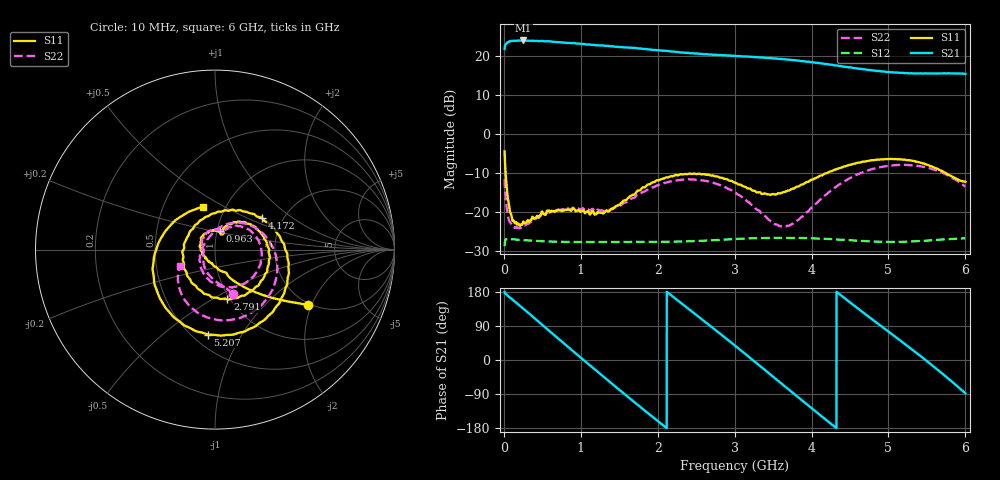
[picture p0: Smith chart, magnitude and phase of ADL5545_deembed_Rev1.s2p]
! Created Fri Jun 24 08:53:19 2016
# mhz S db R 50
! 2 Port Network Data from SP1.SP block
! freq  dbS11  angS11  dbS21  angS21  dbS12  angS12  dbS22  angS22
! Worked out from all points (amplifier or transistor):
!   5991 points, 10 MHz to 6 GHz, reference 50 ohm
!   highest |S21| = 24.1 dB at 255 MHz (marker M1)
!   |S21| within 3 dB of that: start of sweep to 2.276 GHz
!   unconditionally stable (mu >= 1): 31.69 MHz to end of sweep
!   at 1.008 GHz: K = 1.11, MAG = 23.3 dB, |S12| = -27.6 dB
!   at 3.005 GHz: K = 1.25, MAG = 20.4 dB, |S12| = -26.8 dB
!   at 6 GHz: K = 1.80, MAG = 15.9 dB, |S12| = -26.6 dB
!   S11 on the Smith chart (normalised r, x): 10 MHz: 1.95, -1.90; 963 MHz: 1.03, +0.21; 2.791 GHz: 0.97, -0.59; 4.172 GHz: 1.56, +0.61; 5.207 GHz: 0.59, -0.73; 6 GHz: 0.79, +0.40
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10  -4.36 -30.7  21.87 179.8  -28.65 35.6  -11.49 -68.2
97  -20.68 -92.8  23.92 162.0  -26.87 -10.8  -22.99 -158.7
255  -22.36 -161.3  24.06 135.3  -27.11 -35.0  -23.42 173.7
584  -19.52 122.2  23.84 77.9  -27.46 -79.1  -19.94 125.9
963  -19.48 75.3  23.26 12.6  -27.60 -128.4  -18.94 81.2
1009  -19.65 74.7  23.14 4.8  -27.58 -134.5  -19.11 79.1
1289  -20.25 64.4  22.79 -42.9  -27.58 -171.0  -19.59 63.7
1512  -17.83 68.6  22.34 -80.4  -27.56 159.6  -18.32 61.9
1717  -14.98 56.9  22.14 -114.6  -27.54 132.4  -15.85 54.2
2007  -11.75 27.2  21.54 -162.0  -27.55 93.9  -13.01 27.9
2448  -10.14 -26.8  20.81 127.3  -27.37 35.9  -11.56 -23.3
2791  -10.90 -76.0  20.29 72.7  -27.06 -10.4  -12.88 -67.6
3005  -12.38 -110.7  20.13 37.9  -26.82 -40.1  -14.86 -97.1
3284  -14.86 -166.5  19.79 -8.2  -26.62 -80.0  -19.20 -138.6
3581  -15.16 125.8  19.36 -57.4  -26.52 -123.2  -23.52 160.7
4004  -11.61 55.3  18.48 -127.6  -26.63 174.6  -18.72 83.4
4172  -10.03 34.1  18.01 -155.2  -26.76 150.1  -15.69 62.2
4625  -7.24 -21.2  16.83 132.5  -27.29 85.0  -10.04 5.4
5002  -6.34 -67.5  16.00 74.5  -27.56 32.5  -8.05 -40.6
5207  -6.47 -94.7  15.67 43.3  -27.52 3.7  -7.83 -65.3
5587  -8.45 -154.1  15.62 -16.9  -27.12 -51.5  -9.02 -109.9
6000  -12.15 104.9  15.51 -87.8  -26.65 -117.7  -13.44 -155.7
